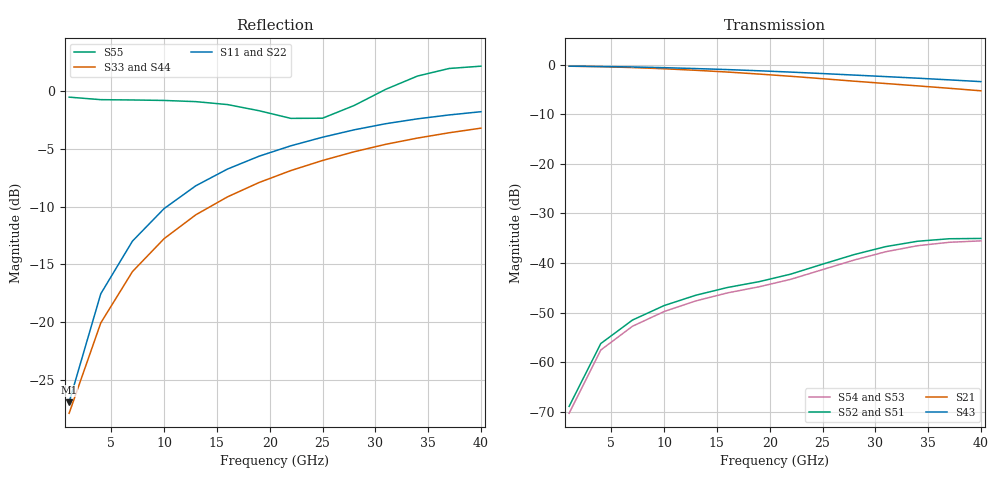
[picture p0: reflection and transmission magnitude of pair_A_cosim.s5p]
# GHz S RI R 50
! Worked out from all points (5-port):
!   14 points, 1 GHz to 40 GHz, reference 50 ohm
!   strongest paths, dB at 1 GHz, 10 GHz, 22 GHz, 31 GHz, 40 GHz:
!     S43: -0.3, -0.6, -1.5, -2.4, -3.4
!     S21: -0.3, -0.8, -2.3, -3.8, -5.3
!     S52: -68.9, -48.6, -42.2, -36.7, -35.0
!     S51: -68.9, -48.6, -42.3, -36.7, -35.1
!     S54: -70.3, -49.8, -43.3, -37.7, -35.5
!     S53: -70.3, -49.8, -43.3, -37.8, -35.6
!   lowest |S11| = -26.9 dB at 1 GHz (marker M1), VSWR 1.09, Z = 53.4 + j3.21 ohm
!   |S11| at or under -10 dB: start of sweep to 10.26 GHz
